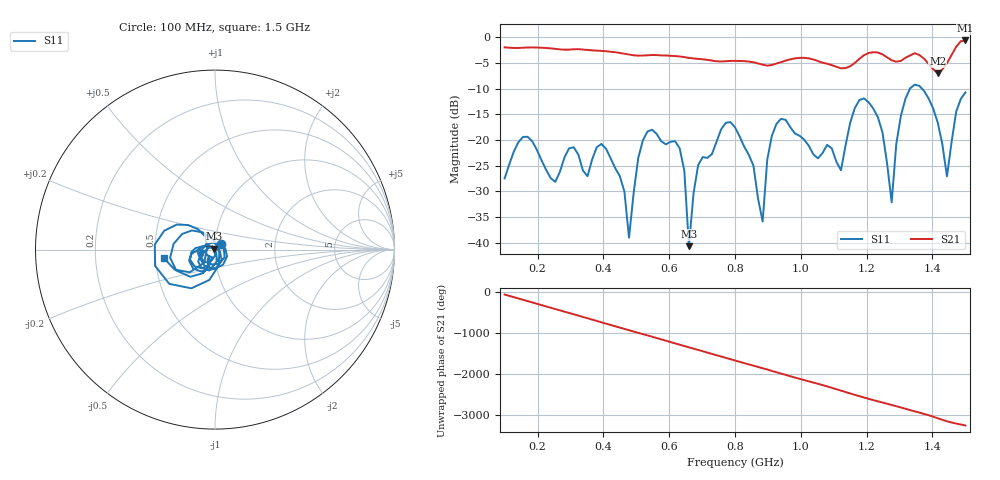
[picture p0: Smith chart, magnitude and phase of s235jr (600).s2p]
! NanoVNA-App
! Date: 2025-09-25 15:08:50
! Start: 100MHz Stop: 1,5GHz Points: 101
! S-Parameter data: F S11 S21 S12 S22
# Hz S RI R 50
!  Frequency  S11_Real  S11_Imag  S21_Real  S21_Imag  S12_Real  S12_Imag  S22_Real  S22_Imag
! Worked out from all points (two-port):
!   101 points, 100 MHz to 1.5 GHz, reference 50 ohm
!   highest |S21| = -0.63 dB at 1.5 GHz (marker M1); lowest = -7.0 dB at 1.416 GHz (marker M2)
!   |S21| within 3 dB of the highest: start of sweep to 607.7 MHz; 1.189 GHz to 1.255 GHz (65.8 MHz wide, 5.38 % of centre) (the widest 2 of 4)
!   lowest |S11| = -40.6 dB at 660 MHz (marker M3), VSWR 1.02, Z = 49.3 + j0.542 ohm
!   |S11| at or under -10 dB: start of sweep to 1.332 GHz; 1.368 GHz to end of sweep
!   S12 and S22 are empty: the file has one direction only
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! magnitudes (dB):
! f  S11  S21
! 100 MHz  -27.5  -2.0
! 156 MHz  -19.4  -2.0
! 338 MHz  -25.9  -2.4
! 408 MHz  -21.7  -2.7
! 478 MHz  -39.0  -3.4
! 520 MHz  -20.1  -3.6
! 576 MHz  -20.2  -3.5
! 632 MHz  -21.6  -3.7
! 660 MHz  -40.6  -4.0
! 688 MHz  -24.9  -4.2
! 800 MHz  -17.5  -4.6
! 884 MHz  -35.9  -5.3
! 926 MHz  -16.8  -5.1
! 1.038 GHz  -22.8  -4.3
! 1.122 GHz  -25.9  -6.0
! 1.192 GHz  -11.9  -3.5
! 1.248 GHz  -18.5  -3.3
! 1.276 GHz  -32.1  -4.5
! 1.332 GHz  -9.9  -3.5
! 1.416 GHz  -16.6  -7.0
! 1.444 GHz  -27.1  -5.0
! 1.5 GHz  -10.7  -0.6
